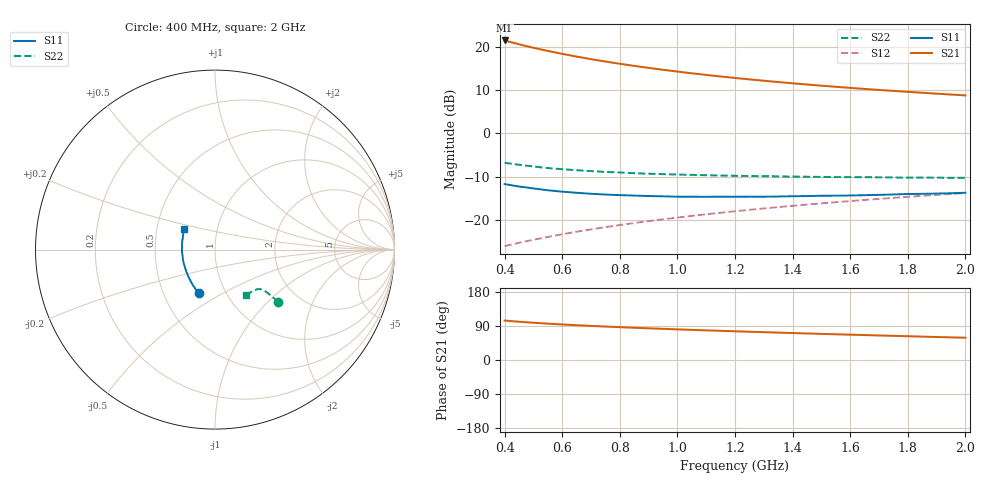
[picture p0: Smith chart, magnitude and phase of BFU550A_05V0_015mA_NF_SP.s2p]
! Filename:  P:\Prog\Test\Noise\ATS_data\Testdata_Net\06 Compressed Noise after Statistics\BFU550A_APG2013_35_C05_05p0V_015mA_NF_CM01_D.sf
! Date/Time: Tue 16/Apr/2013 15:11:26
! BFU550A_APG2013_35_C05_05p0V_1to35mA_NF_CM01_Bias6_R.sf
! Noise Parameter Data File
! BFU550A_APG2013_35_C05_05p0V_1to35mA_SP_CM01
! Date/time: Mon Apr 15 16:43:38 2013
! VAR V_out= 5.001000
! VAR I_out= 14.995000
! VAR V_in= 0.832800
! VAR I_in= 0.161300
! Device data file deembeded for feedlines and parallel
! Original file: \06 Compressed Noise after Statistics\BFU550A_APG2013_35_C05_05p0V_015mA_NF_CM01_R.sf
! Feed-files: PR017V01_150413_Feed1.s2p, PR017V01_150413_Feed2.s2p
! Parallel-file: PR017V01_150413_Par.s2p
# MHz S MA R 50
!  Freq-MHz  S11-mag  S11-arg  S21-mag  S21-arg  S12-mag  S12-arg  S22-mag  S22-arg
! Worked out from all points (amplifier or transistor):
!   37 points, 400 MHz to 2 GHz, reference 50 ohm
!   highest |S21| = 21.6 dB at 400 MHz (marker M1)
!   |S21| within 3 dB of that: start of sweep to 591.9 MHz
!   unconditionally stable (mu >= 1): 1.146 GHz to end of sweep
!   at 500 MHz: K = 0.89, MSG = 22.3 dB, |S12| = -24.7 dB
!   at 1.1 GHz: K = 1.00, MSG = 16.2 dB, |S12| = -18.8 dB
!   at 2 GHz: K = 1.00, MAG = 11.1 dB, |S12| = -13.8 dB
!   lowest NFmin = 0.90 dB at 460 MHz
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400  0.2583 -110.6  12.05 104.1  0.04902 68.7  0.4572 -39.4
420  0.2517 -113.4  11.55 102.8  0.0509 68.9  0.4466 -39.5
440  0.2451 -116.2  11.1 101.6  0.05272 69.1  0.4374 -39.5
460  0.2394 -118.6  10.67 100.5  0.05454 69.3  0.429 -39.6
480  0.2348 -121.1  10.28 99.4  0.05638 69.4  0.4206 -39.6
500  0.2297 -123.6  9.908 98.4  0.05822 69.6  0.4137 -39.5
550  0.2189 -129.6  9.111 95.9  0.06271 70.0  0.3962 -39.5
600  0.2107 -134.8  8.422 93.8  0.06746 70.3  0.3844 -39.5
650  0.2046 -139.8  7.825 91.8  0.07215 70.5  0.3742 -39.6
700  0.1991 -144.4  7.308 90.0  0.07682 70.7  0.3654 -39.7
750  0.1953 -148.8  6.853 88.3  0.08156 70.8  0.3578 -39.7
800  0.192 -152.8  6.455 86.7  0.08631 70.9  0.3519 -40.0
850  0.1899 -157.0  6.101 85.1  0.09105 71.0  0.3454 -40.3
950  0.1861 -164.2  5.499 82.2  0.1006 71.0  0.337 -41.0
1050  0.1841 -170.8  5.005 79.5  0.1103 70.8  0.3303 -41.7
1150  0.1842 -176.8  4.596 77.0  0.12 70.5  0.3245 -42.7
1200  0.1841 -179.7  4.418 75.8  0.1248 70.4  0.3226 -43.4
1350  0.1851 172.6  3.96 72.3  0.1394 69.7  0.3176 -45.2
1500  0.189 165.2  3.593 68.9  0.1541 69.0  0.3126 -47.4
1650  0.1918 159.1  3.294 65.8  0.1689 68.1  0.3102 -49.7
1750  0.1955 155.2  3.124 63.7  0.1786 67.4  0.3082 -51.4
2000  0.2046 146.7  2.77 58.8  0.2031 65.7  0.3054 -56.0
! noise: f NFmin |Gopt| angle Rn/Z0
400  0.9333  0.172  -174.8  0.0844
460  0.8983  0.1749  -172.6  0.0863
600  0.9941  0.1614  -160.9  0.0927
800  0.9732  0.2141  -163.4  0.078
1000  0.989  0.217  -157.9  0.0811
1200  1.031  0.2348  -153.9  0.081
1400  1.05  0.2455  -150.6  0.0879
1600  1.086  0.265  -141.4  0.0883
1800  1.107  0.2963  -141.4  0.078
2000  1.086  0.3315  -131.1  0.0905
